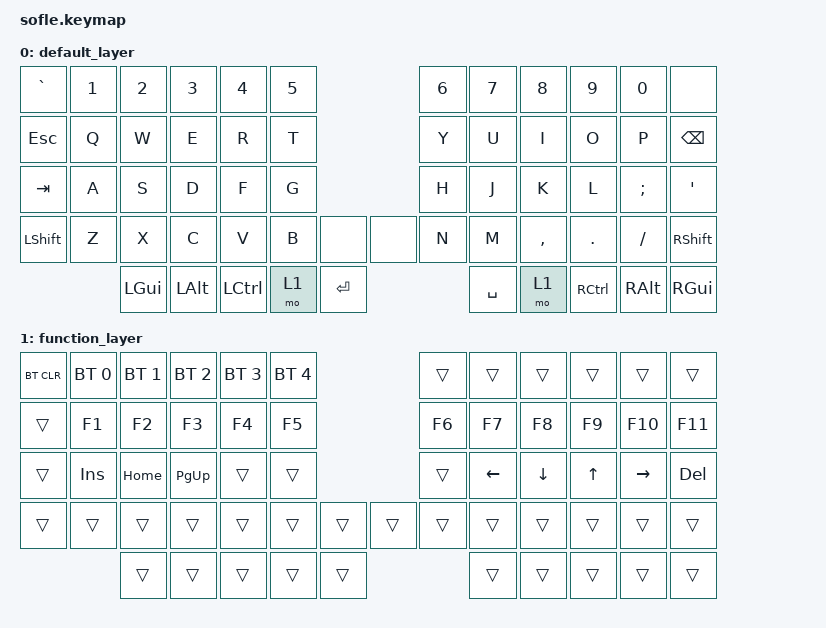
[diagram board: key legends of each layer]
/*
 * Basic QWERTY keymap for the upstream ZMK Sofle shield.
 * The matrix order below follows the upstream Sofle default layout.
 */

#include <behaviors.dtsi>
#include <dt-bindings/zmk/keys.h>
#include <dt-bindings/zmk/bt.h>

/ {
    keymap {
        compatible = "zmk,keymap";

        default_layer {
            bindings = <
                &kp GRAVE &kp N1 &kp N2 &kp N3 &kp N4 &kp N5                         &kp N6 &kp N7 &kp N8 &kp N9 &kp N0 &none
                &kp ESC   &kp Q  &kp W  &kp E  &kp R  &kp T                          &kp Y  &kp U  &kp I  &kp O  &kp P  &kp BSPC
                &kp TAB   &kp A  &kp S  &kp D  &kp F  &kp G                          &kp H  &kp J  &kp K  &kp L  &kp SEMI &kp SQT
                &kp LSHFT &kp Z  &kp X  &kp C  &kp V  &kp B  &none &none             &kp N  &kp M  &kp COMMA &kp DOT &kp FSLH &kp RSHFT
                                    &kp LGUI &kp LALT &kp LCTRL &mo 1 &kp RET           &kp SPACE &mo 1 &kp RCTRL &kp RALT &kp RGUI
            >;
        };

        function_layer {
            bindings = <
                &bt BT_CLR &bt BT_SEL 0 &bt BT_SEL 1 &bt BT_SEL 2 &bt BT_SEL 3 &bt BT_SEL 4   &trans &trans &trans &trans &trans &trans
                &trans &kp F1 &kp F2 &kp F3 &kp F4 &kp F5                                    &kp F6 &kp F7 &kp F8 &kp F9 &kp F10 &kp F11
                &trans &kp INS &kp HOME &kp PG_UP &trans &trans                               &trans &kp LEFT &kp DOWN &kp UP &kp RIGHT &kp DEL
                &trans &trans &trans &trans &trans &trans &trans &trans                       &trans &trans &trans &trans &trans &trans
                                    &trans &trans &trans &trans &trans                         &trans &trans &trans &trans &trans
            >;
        };
    };
};
